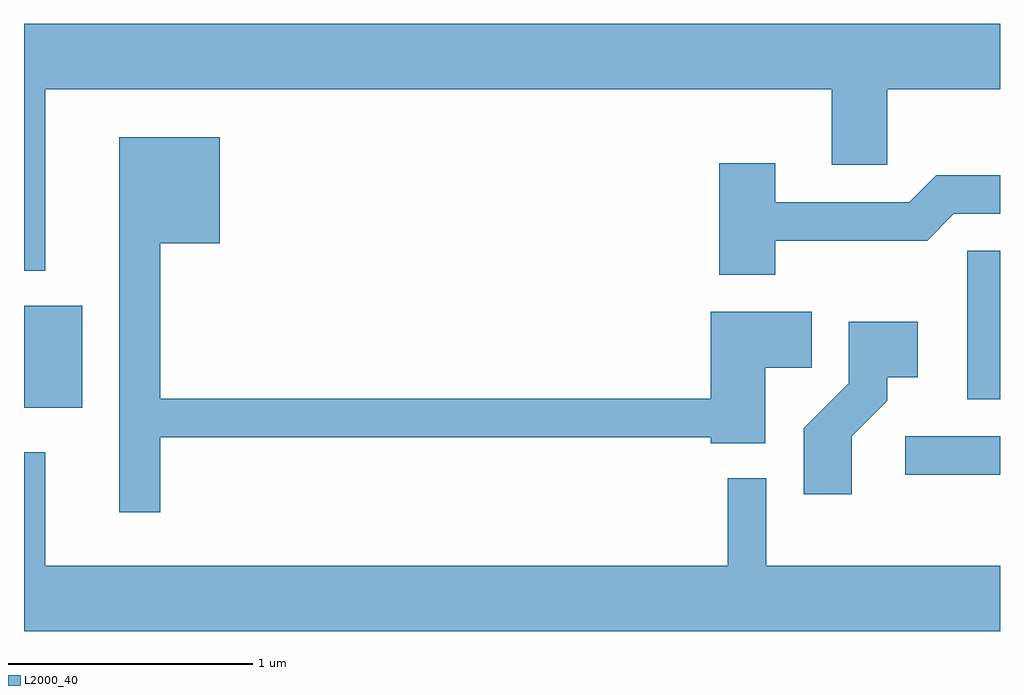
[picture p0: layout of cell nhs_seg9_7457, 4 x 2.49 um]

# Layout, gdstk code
import gdstk
lib = gdstk.Library(unit=1e-6, precision=1e-09)
def R(c, l, rs):  # rectangles x0, y0, x1, y1
    for r in rs: c.add(gdstk.rectangle(r[:2], r[2:], *l))
def P(c, l, *ps):  # polygons
    for p in ps: c.add(gdstk.Polygon(p, *l))
L2000_40 = (2000, 40)

nhs_seg9_7457 = lib.new_cell('nhs_seg9_7457')
R(nhs_seg9_7457, L2000_40, [(409.223,2032.416,409.611,2032.574), (405.611,2032.691,405.849,2033.109), (409.476,2032.726,409.611,2033.334)])
P(nhs_seg9_7457, L2000_40, [(405.699,2033.996),(408.921,2033.996),(408.921,2033.686),(409.149,2033.686),(409.149,2033.996),(409.611,2033.996),(409.611,2034.264),(405.611,2034.264),(405.611,2033.253),(405.699,2033.253)],
  [(406.169,2032.571),(408.426,2032.571),(408.426,2032.546),(408.649,2032.546),(408.649,2032.856),(408.839,2032.856),(408.839,2033.084),(408.426,2033.084),(408.426,2032.729),(406.169,2032.729),(406.169,2033.366),(406.414,2033.366),(406.414,2033.799),(406.001,2033.799),(406.001,2032.263),(406.169,2032.263)],
  [(408.689,2033.376),(409.312,2033.376),(409.422,2033.486),(409.611,2033.486),(409.611,2033.644),(409.349,2033.644),(409.239,2033.534),(408.689,2033.534),(408.689,2033.694),(408.461,2033.694),(408.461,2033.236),(408.689,2033.236)],
  [(409.004,2032.574),(409.149,2032.719),(409.149,2032.816),(409.274,2032.816),(409.274,2033.044),(408.991,2033.044),(408.991,2032.792),(408.806,2032.607),(408.806,2032.336),(409.004,2032.336)],
  [(409.611,2032.044),(408.654,2032.044),(408.654,2032.403),(408.496,2032.403),(408.496,2032.044),(405.699,2032.044),(405.699,2032.508),(405.611,2032.508),(405.611,2031.776),(409.611,2031.776)])

lib.write_gds('nhs_seg9_7457.gds')
